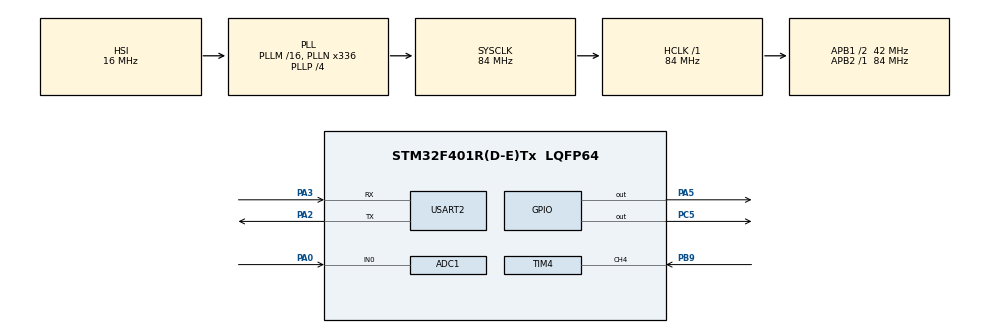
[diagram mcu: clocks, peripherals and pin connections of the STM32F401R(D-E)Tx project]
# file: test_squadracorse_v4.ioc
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ADC1.Channel-0\#ChannelRegularConversion=ADC_CHANNEL_0
ADC1.ContinuousConvMode=DISABLE
ADC1.NbrOfConversionFlag=1
ADC1.Rank-0\#ChannelRegularConversion=1
ADC1.Resolution=ADC_RESOLUTION_12B
ADC1.SamplingTime-0\#ChannelRegularConversion=ADC_SAMPLETIME_3CYCLES
ADC1.master=1
Mcu.Family=STM32F4
Mcu.Name=STM32F401R(D-E)Tx
Mcu.Package=LQFP64
NVIC.ADC_IRQn=true\:0\:0\:true\:false\:true\:true\:true\:true
NVIC.PriorityGroup=NVIC_PRIORITYGROUP_4
NVIC.TIM3_IRQn=true\:1\:0\:true\:false\:true\:true\:true\:true
NVIC.TIM4_IRQn=true\:0\:0\:true\:false\:true\:true\:true\:true
NVIC.USART2_IRQn=true\:0\:0\:false\:false\:true\:true\:true\:true
PA0-WKUP.Signal=ADCx_IN0
PA2.Mode=Asynchronous
PA2.Signal=USART2_TX
PA3.Mode=Asynchronous
PA3.Signal=USART2_RX
PA5.Signal=GPIO_Output
PB9.Signal=S_TIM4_CH4
PC5.Signal=GPIO_Output
ProjectManager.HeapSize=0x200
ProjectManager.StackSize=0x400
ProjectManager.TargetToolchain=STM32CubeIDE
RCC.48MHZClocksFreq_Value=84000000
RCC.AHBFreq_Value=84000000
RCC.APB1CLKDivider=RCC_HCLK_DIV2
RCC.APB1Freq_Value=42000000
RCC.APB1TimFreq_Value=84000000
RCC.APB2Freq_Value=84000000
RCC.APB2TimFreq_Value=84000000
RCC.CortexFreq_Value=84000000
RCC.HCLKFreq_Value=84000000
RCC.HSE_VALUE=25000000
RCC.HSI_VALUE=16000000
RCC.LSE_VALUE=32768
RCC.PLLN=336
RCC.PLLP=RCC_PLLP_DIV4
RCC.SYSCLKFreq_VALUE=84000000
RCC.SYSCLKSource=RCC_SYSCLKSOURCE_PLLCLK
RCC.VCOOutputFreq_Value=336000000
SH.ADCx_IN0.0=ADC1_IN0,IN0
SH.S_TIM4_CH4.0=TIM4_CH4,Input_Capture4_from_TI4
TIM3.Channel-Output\ Compare1\ No\ Output=TIM_CHANNEL_1
TIM3.Channel-Output\ Compare2\ No\ Output=TIM_CHANNEL_2
TIM3.Channel-Output\ Compare3\ No\ Output=TIM_CHANNEL_3
TIM3.OC1Preload=DISABLE
TIM3.OC2Preload=DISABLE
TIM3.OC3Preload=DISABLE
TIM3.Period=65535
TIM3.Prescaler=768
TIM3.TIM_MasterOutputTrigger=TIM_TRGO_RESET
TIM4.Channel-Input_Capture4_from_TI4=TIM_CHANNEL_4
TIM4.ICPolarity_CH4=TIM_INPUTCHANNELPOLARITY_FALLING
TIM4.Period=65535
USART2.VirtualMode=VM_ASYNC
VP_ADC1_TempSens_Input.Mode=IN-TempSens
VP_TIM3_VS_ClockSourceINT.Mode=Internal
VP_TIM3_VS_no_output1.Mode=Output Compare1 No Output
VP_TIM3_VS_no_output2.Mode=Output Compare2 No Output
VP_TIM3_VS_no_output3.Mode=Output Compare3 No Output
board=custom

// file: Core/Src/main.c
/* USER CODE BEGIN Header */
/**
  ******************************************************************************
  * @file           : main.c
  * @brief          : Main program body
  ******************************************************************************
  * @attention
  *
  * Copyright (c) 2023 STMicroelectronics.
  * All rights reserved.
  *
  * This software is licensed under terms that can be found in the LICENSE file
  * in the root directory of this software component.
  * If no LICENSE file comes with this software, it is provided AS-IS.
  *
  ******************************************************************************
  */
/* USER CODE END Header */
#include "main.h"

/* USER CODE BEGIN Includes */
#include "string.h"
#include "stdio.h"

/* USER CODE END Includes */

ADC_HandleTypeDef hadc1;

TIM_HandleTypeDef htim3;
TIM_HandleTypeDef htim4;

UART_HandleTypeDef huart2;

void SystemClock_Config(void);
static void MX_GPIO_Init(void);
static void MX_ADC1_Init(void);
static void MX_TIM3_Init(void);
static void MX_TIM4_Init(void);
static void MX_USART2_UART_Init(void);

/* USER CODE BEGIN 0 */
enum Stato { danger_state, waiting_state, running_state } ;// definizione degli stati
volatile enum Stato stato_corrente = running_state;

// costanti per il calcolo della temperatura

#define V25  760 // valore della tensione dell adc1 a 25 °C
#define avg_slope  2.5 // dato da datasheet
#define Vdd  3.6 // tensione di alimentazione adc da datasheet

// variabili contenenti i valori di uscita dall'adc

int valore_tensione;
float valore_temperatura;

// valori calcolati di tensione e temperatura

float tensione;
float temperatura;

// valori delle soglie dell'output compare del timer 3

uint16_t current_ccr1 = 38230;
uint16_t current_ccr2 = 21846;
uint16_t current_ccr3 = 54615;

// stringhe per l'invio dei valorii tramite UART

char stringa_tensione[20];
char stringa_temperatura[20];
char stringa_PA5[30];
char stringa_PC5[30];

// flag di fine scansione adc

uint8_t scansione_tensione = 0;
uint8_t scansione_temperatura = 0;

// condizione del corrispettivo pin gpio
int stato_PA5 = 0;
int stato_PC5 = 0;

//  funzione chiamata alla fine della scansione dell adc

void HAL_ADC_ConvCpltCallback(ADC_HandleTypeDef* hadc){

	if (hadc == &hadc1){                                     // controllo se l adc1 ha chiamato la funzione

//		scansione tensione

		if (scansione_tensione == 1){ 						 // se flag di fine scansione tensione = 1

			scansione_tensione = 0;                          // reset flag scansione tensione
			valore_tensione = HAL_ADC_GetValue(&hadc1);	     // salvataggio valore di uscita adc
			tensione = (3.3*100/4096)*valore_tensione;       // calcolo della tensione [(Val*Vadc)/2^12], moltiplico per 100
															 //	per non usare il float nella sprintf siccome non è supportato
			sprintf(stringa_tensione, "tensione = %d,%d\n", (int)tensione/100, (int)tensione%100); // definisco la stringa da inviare dividendo
																								   // per 100 ottenendo il valore reale
			HAL_UART_Transmit(&huart2, stringa_tensione,strlen(stringa_tensione),  1);             // trasmissione della tensione

			if (tensione/100 < 1.8){ // tensione/100 è il valore reale
				stato_corrente = danger_state;              // imposto danger state
				HAL_GPIO_WritePin(GPIOA, GPIO_PIN_5, 1);    // setto PA5 a 1 (LED verde sulla board)
				HAL_GPIO_WritePin(GPIOC, GPIO_PIN_5, 0);    // setto PC5 a 0 (pilota un LED esterno rosso montato su breadboard)

			}

			else if (tensione/100 > 2.7){
				stato_corrente = danger_state;              // imposto danger state
				HAL_GPIO_WritePin(GPIOC, GPIO_PIN_5, 1);    // setto PC5 a 1 (pilota un LED esterno rosso montato su breadboard)
				HAL_GPIO_WritePin(GPIOA, GPIO_PIN_5, 0);    // setto PA5 a 0 (LED verde sulla board)
			}

			else{
				HAL_GPIO_WritePin(GPIOA, GPIO_PIN_5, 0);    // setto PA5 a 0 (LED verde sulla board)
				HAL_GPIO_WritePin(GPIOC, GPIO_PIN_5, 0);    // setto PC5 a 0 (pilota un LED esterno rosso montato su breadboard)
			}

		}

// 		scansione temperatura

		else if (scansione_temperatura == 1){ 						      // se flag di fine scansione temperatura = 1

			scansione_temperatura = 0;									  // reset flag fine scansione temperatura
			valore_temperatura = HAL_ADC_GetValue(&hadc1);				  // salvo in una variabile il valore in uscita dall adc
			temperatura = (valore_temperatura/4096)* (3.3 *1000);         // calcolo valore in tensione dell uscita dell adc moltiplicato per 1000 per non usare float
																		  // nella sprintf, siccome non è supportato
			temperatura = ((temperatura - V25)*100/avg_slope) + 2500 ;    // calcolo valore della temperatura con la formula fornita sul datasheet

			if((temperatura/100) > -40 && (temperatura/100) < 125)	{     // se la temperatura rientra nel range fornito sul datasheet per il sensore
				sprintf(stringa_temperatura,"temperatura = %d,%d\n", (int)temperatura/100, (int)temperatura%100 ); // creo una stringa col valore della temperatura
				HAL_UART_Transmit(&huart2, stringa_temperatura, sizeof(stringa_temperatura), 1);                   // invio temperatura via UART
			}

			else {														  // se la temperatura non rientra nel range segnalo l'errore
				HAL_UART_Transmit(&huart2, "Errore : temperatura out of range\n", sizeof("Errore : temperatura out of range\n"), 1);   // trasmetto l'errore

			}
	    }
	}

}

// funzione chiamata quando viene raggiunta una soglia impostata nei canali dei timer per l output compare

void HAL_TIM_OC_DelayElapsedCallback(TIM_HandleTypeDef* htim){

//   configuro canale 0 per la misura di tensione
   ADC_ChannelConfTypeDef sConfig_0 = {0};
   sConfig_0.Channel = ADC_CHANNEL_0;
   sConfig_0.Rank = 1;
   sConfig_0.SamplingTime = ADC_SAMPLETIME_3CYCLES;

//   configuro canale per lettura del sensore di temperatura
   ADC_ChannelConfTypeDef sConfig_18 = {0};
   sConfig_18.Channel = ADC_CHANNEL_TEMPSENSOR;
   sConfig_18.Rank = 1;
   sConfig_18.SamplingTime = ADC_SAMPLETIME_3CYCLES;

   if (htim == &htim3){                                                                // controllo se il timer 3 ha chiamato la funzione

		if (stato_corrente == running_state || stato_corrente == danger_state){

			if (htim->Channel == HAL_TIM_ACTIVE_CHANNEL_1){						       // controllo se il canale 1 ha chiamato la funzione
				HAL_ADC_ConfigChannel(&hadc1, &sConfig_0); 							   // attivo il canale 0
				current_ccr1  += 38230;												   // incremento il valore della soglia per il canale 1
				__HAL_TIM_SET_COMPARE(&htim3, TIM_CHANNEL_1, current_ccr1);            // effettuo il cambiamento della soglia
				scansione_tensione = 1;												   // attivo flag per identificare quale canale ha attivato la scansione
				HAL_ADC_Start_IT(&hadc1);                                              // start scansione adc

		    }

			else if (htim->Channel == HAL_TIM_ACTIVE_CHANNEL_2 && scansione_tensione != 1){   // controllo se il canale 2 ha chiamato la funzione
				HAL_ADC_ConfigChannel(&hadc1, &sConfig_18);                                   // attivo il canale del sensore di temperatura
				current_ccr2  += 21846;                                                       // incremento il valore della soglia per il canale 2
				__HAL_TIM_SET_COMPARE(&htim3, TIM_CHANNEL_2, current_ccr2);					  // effettuo il cambiamento della soglia
				scansione_temperatura = 1;													  // attivo flag per identificare quale canale ha attivato la scansione
				HAL_ADC_Start_IT(&hadc1);													  // start scansione adc
			}
		}

		if ( htim->Channel == HAL_TIM_ACTIVE_CHANNEL_3){// controllo se il canale 3 ha chiamato la funzione e se sono in waiting state

			// trasmetto stato del pin PA5

			stato_PA5 = (int)HAL_GPIO_ReadPin(GPIOA, GPIO_PIN_5);
			sprintf(stringa_PA5, "stato del pin PA5 = %d\n", stato_PA5);
			HAL_UART_Transmit(&huart2,stringa_PA5, sizeof(stringa_PA5),1);

			// trasmetto stato del pin PC5

			stato_PC5 = (int)HAL_GPIO_ReadPin(GPIOC, GPIO_PIN_5);
			sprintf(stringa_PC5, "stato del pin PC5 = %d\n", stato_PC5);
			HAL_UART_Transmit(&huart2,stringa_PC5, sizeof(stringa_PC5),1);

			if(stato_corrente == waiting_state){
				current_ccr3  += 54615; 														  // incremento il valore della soglia per il canale 3
				__HAL_TIM_SET_COMPARE(&htim3, TIM_CHANNEL_3, current_ccr3);						  // effettuo il cambiamento della soglia
				scansione_tensione = 1;															  // attivo flag per identificare quale canale ha attivato la scansione
				HAL_UART_Transmit(&huart2, "Board in waiting state - please press the emergency button\n", sizeof("Board in waiting state - please press the emergency button\n"), 1);
            // trasmetto errore tramite UART
			}
		}

	}
}

// funzione chiamata quando avviene l evento che scatena l input capture (la pressione del tasto utente presente sulla board)

void HAL_TIM_IC_CaptureCallback(TIM_HandleTypeDef* htim){

	if (htim == &htim4){							// controllo se il tim 4 ha chiamato la funzione

		if (stato_corrente != waiting_state){		// se lo stato è diverso dal waiting lo imposto
			stato_corrente = waiting_state;
		}

		else if (stato_corrente == waiting_state){  // se lo stato è di wait lo pongo di run
			stato_corrente = running_state;
		}

	}
}
/* USER CODE END 0 */

int main(void)
{

  /* MCU Configuration--------------------------------------------------------*/

  /* Reset of all peripherals, Initializes the Flash interface and the Systick. */
  HAL_Init();

  /* Configure the system clock */
  SystemClock_Config();

  /* Initialize all configured peripherals */
  MX_GPIO_Init();
  MX_ADC1_Init();
  MX_TIM3_Init();
  MX_TIM4_Init();
  MX_USART2_UART_Init();
  /* USER CODE BEGIN 2 */

  // ferma tim3 durante stop del debugger
  __HAL_DBGMCU_FREEZE_TIM3();

//  start del timer 3 con i primi 3 canali in output compare
  HAL_TIM_OC_Start_IT(&htim3, TIM_CHANNEL_1);
  HAL_TIM_OC_Start_IT(&htim3, TIM_CHANNEL_2);
  HAL_TIM_OC_Start_IT(&htim3, TIM_CHANNEL_3);

//  start del timer 4 con canale 4 in input capture
  HAL_TIM_IC_Start_IT(&htim4, TIM_CHANNEL_4);

//  imposto i valori delle soglie  dell'output compare
  __HAL_TIM_SET_COMPARE(&htim3, TIM_CHANNEL_1, current_ccr1);
  __HAL_TIM_SET_COMPARE(&htim3, TIM_CHANNEL_2, current_ccr2);
  __HAL_TIM_SET_COMPARE(&htim3, TIM_CHANNEL_3, current_ccr3);

  //HAL_ADC_Start(&hadc1); // hadc1 è la struttura dell'ADC
  /* USER CODE END 2 */

  /* Infinite loop */
  while (1)
  {
  }

}

void SystemClock_Config(void)
{
  RCC_OscInitTypeDef RCC_OscInitStruct = {0};
  RCC_ClkInitTypeDef RCC_ClkInitStruct = {0};

  /** Configure the main internal regulator output voltage
  */
  __HAL_RCC_PWR_CLK_ENABLE();
  __HAL_PWR_VOLTAGESCALING_CONFIG(PWR_REGULATOR_VOLTAGE_SCALE2);

  /** Initializes the RCC Oscillators according to the specified parameters
  * in the RCC_OscInitTypeDef structure.
  */
  RCC_OscInitStruct.OscillatorType = RCC_OSCILLATORTYPE_HSI;
  RCC_OscInitStruct.HSIState = RCC_HSI_ON;
  RCC_OscInitStruct.HSICalibrationValue = RCC_HSICALIBRATION_DEFAULT;
  RCC_OscInitStruct.PLL.PLLState = RCC_PLL_ON;
  RCC_OscInitStruct.PLL.PLLSource = RCC_PLLSOURCE_HSI;
  RCC_OscInitStruct.PLL.PLLM = 16;
  RCC_OscInitStruct.PLL.PLLN = 336;
  RCC_OscInitStruct.PLL.PLLP = RCC_PLLP_DIV4;
  RCC_OscInitStruct.PLL.PLLQ = 4;
  if (HAL_RCC_OscConfig(&RCC_OscInitStruct) != HAL_OK)
  {
    Error_Handler();
  }

  /** Initializes the CPU, AHB and APB buses clocks
  */
  RCC_ClkInitStruct.ClockType = RCC_CLOCKTYPE_HCLK|RCC_CLOCKTYPE_SYSCLK
                              |RCC_CLOCKTYPE_PCLK1|RCC_CLOCKTYPE_PCLK2;
  RCC_ClkInitStruct.SYSCLKSource = RCC_SYSCLKSOURCE_PLLCLK;
  RCC_ClkInitStruct.AHBCLKDivider = RCC_SYSCLK_DIV1;
  RCC_ClkInitStruct.APB1CLKDivider = RCC_HCLK_DIV2;
  RCC_ClkInitStruct.APB2CLKDivider = RCC_HCLK_DIV1;

  if (HAL_RCC_ClockConfig(&RCC_ClkInitStruct, FLASH_LATENCY_2) != HAL_OK)
  {
    Error_Handler();
  }
}

static void MX_ADC1_Init(void)
{

  ADC_ChannelConfTypeDef sConfig = {0};

  /** Configure the global features of the ADC (Clock, Resolution, Data Alignment and number of conversion)
  */
  hadc1.Instance = ADC1;
  hadc1.Init.ClockPrescaler = ADC_CLOCK_SYNC_PCLK_DIV4;
  hadc1.Init.Resolution = ADC_RESOLUTION_12B;
  hadc1.Init.ScanConvMode = DISABLE;
  hadc1.Init.ContinuousConvMode = DISABLE;
  hadc1.Init.DiscontinuousConvMode = DISABLE;
  hadc1.Init.ExternalTrigConvEdge = ADC_EXTERNALTRIGCONVEDGE_NONE;
  hadc1.Init.ExternalTrigConv = ADC_SOFTWARE_START;
  hadc1.Init.DataAlign = ADC_DATAALIGN_RIGHT;
  hadc1.Init.NbrOfConversion = 1;
  hadc1.Init.DMAContinuousRequests = DISABLE;
  hadc1.Init.EOCSelection = ADC_EOC_SINGLE_CONV;
  if (HAL_ADC_Init(&hadc1) != HAL_OK)
  {
    Error_Handler();
  }

  /** Configure for the selected ADC regular channel its corresponding rank in the sequencer and its sample time.
  */
  sConfig.Channel = ADC_CHANNEL_0;
  sConfig.Rank = 1;
  sConfig.SamplingTime = ADC_SAMPLETIME_3CYCLES;
  if (HAL_ADC_ConfigChannel(&hadc1, &sConfig) != HAL_OK)
  {
    Error_Handler();
  }

}

static void MX_TIM3_Init(void)
{

  TIM_ClockConfigTypeDef sClockSourceConfig = {0};
  TIM_MasterConfigTypeDef sMasterConfig = {0};
  TIM_OC_InitTypeDef sConfigOC = {0};

  htim3.Instance = TIM3;
  htim3.Init.Prescaler = 768;
  htim3.Init.CounterMode = TIM_COUNTERMODE_UP;
  htim3.Init.Period = 65535;
  htim3.Init.ClockDivision = TIM_CLOCKDIVISION_DIV1;
  htim3.Init.AutoReloadPreload = TIM_AUTORELOAD_PRELOAD_DISABLE;
  if (HAL_TIM_Base_Init(&htim3) != HAL_OK)
  {
    Error_Handler();
  }
  sClockSourceConfig.ClockSource = TIM_CLOCKSOURCE_INTERNAL;
  if (HAL_TIM_ConfigClockSource(&htim3, &sClockSourceConfig) != HAL_OK)
  {
    Error_Handler();
  }
  if (HAL_TIM_OC_Init(&htim3) != HAL_OK)
  {
    Error_Handler();
  }
  sMasterConfig.MasterOutputTrigger = TIM_TRGO_RESET;
  sMasterConfig.MasterSlaveMode = TIM_MASTERSLAVEMODE_DISABLE;
  if (HAL_TIMEx_MasterConfigSynchronization(&htim3, &sMasterConfig) != HAL_OK)
  {
    Error_Handler();
  }
  sConfigOC.OCMode = TIM_OCMODE_TIMING;
  sConfigOC.Pulse = 0;
  sConfigOC.OCPolarity = TIM_OCPOLARITY_HIGH;
  sConfigOC.OCFastMode = TIM_OCFAST_DISABLE;
  if (HAL_TIM_OC_ConfigChannel(&htim3, &sConfigOC, TIM_CHANNEL_1) != HAL_OK)
  {
    Error_Handler();
  }
  if (HAL_TIM_OC_ConfigChannel(&htim3, &sConfigOC, TIM_CHANNEL_2) != HAL_OK)
  {
    Error_Handler();
  }
  if (HAL_TIM_OC_ConfigChannel(&htim3, &sConfigOC, TIM_CHANNEL_3) != HAL_OK)
  {
    Error_Handler();
  }

}

static void MX_TIM4_Init(void)
{

  TIM_MasterConfigTypeDef sMasterConfig = {0};
  TIM_IC_InitTypeDef sConfigIC = {0};

  htim4.Instance = TIM4;
  htim4.Init.Prescaler = 0;
  htim4.Init.CounterMode = TIM_COUNTERMODE_UP;
  htim4.Init.Period = 65535;
  htim4.Init.ClockDivision = TIM_CLOCKDIVISION_DIV1;
  htim4.Init.AutoReloadPreload = TIM_AUTORELOAD_PRELOAD_DISABLE;
  if (HAL_TIM_IC_Init(&htim4) != HAL_OK)
  {
    Error_Handler();
  }
  sMasterConfig.MasterOutputTrigger = TIM_TRGO_RESET;
  sMasterConfig.MasterSlaveMode = TIM_MASTERSLAVEMODE_DISABLE;
  if (HAL_TIMEx_MasterConfigSynchronization(&htim4, &sMasterConfig) != HAL_OK)
  {
    Error_Handler();
  }
  sConfigIC.ICPolarity = TIM_INPUTCHANNELPOLARITY_FALLING;
  sConfigIC.ICSelection = TIM_ICSELECTION_DIRECTTI;
  sConfigIC.ICPrescaler = TIM_ICPSC_DIV1;
  sConfigIC.ICFilter = 0;
  if (HAL_TIM_IC_ConfigChannel(&htim4, &sConfigIC, TIM_CHANNEL_4) != HAL_OK)
  {
    Error_Handler();
  }

}

static void MX_USART2_UART_Init(void)
{

  huart2.Instance = USART2;
  huart2.Init.BaudRate = 115200;
  huart2.Init.WordLength = UART_WORDLENGTH_8B;
  huart2.Init.StopBits = UART_STOPBITS_1;
  huart2.Init.Parity = UART_PARITY_NONE;
  huart2.Init.Mode = UART_MODE_TX_RX;
  huart2.Init.HwFlowCtl = UART_HWCONTROL_NONE;
  huart2.Init.OverSampling = UART_OVERSAMPLING_16;
  if (HAL_UART_Init(&huart2) != HAL_OK)
  {
    Error_Handler();
  }

}

static void MX_GPIO_Init(void)
{
  GPIO_InitTypeDef GPIO_InitStruct = {0};

  /* GPIO Ports Clock Enable */
  __HAL_RCC_GPIOA_CLK_ENABLE();
  __HAL_RCC_GPIOC_CLK_ENABLE();
  __HAL_RCC_GPIOB_CLK_ENABLE();

  /*Configure GPIO pin Output Level */
  HAL_GPIO_WritePin(GPIOA, GPIO_PIN_5, GPIO_PIN_RESET);

  /*Configure GPIO pin Output Level */
  HAL_GPIO_WritePin(GPIOC, GPIO_PIN_5, GPIO_PIN_RESET);

  /*Configure GPIO pin : PA5 */
  GPIO_InitStruct.Pin = GPIO_PIN_5;
  GPIO_InitStruct.Mode = GPIO_MODE_OUTPUT_PP;
  GPIO_InitStruct.Pull = GPIO_NOPULL;
  GPIO_InitStruct.Speed = GPIO_SPEED_FREQ_LOW;
  HAL_GPIO_Init(GPIOA, &GPIO_InitStruct);

  /*Configure GPIO pin : PC5 */
  GPIO_InitStruct.Pin = GPIO_PIN_5;
  GPIO_InitStruct.Mode = GPIO_MODE_OUTPUT_PP;
  GPIO_InitStruct.Pull = GPIO_NOPULL;
  GPIO_InitStruct.Speed = GPIO_SPEED_FREQ_LOW;
  HAL_GPIO_Init(GPIOC, &GPIO_InitStruct);

}

void Error_Handler(void)
{
  __disable_irq();
  while (1)
  {
  }
}
